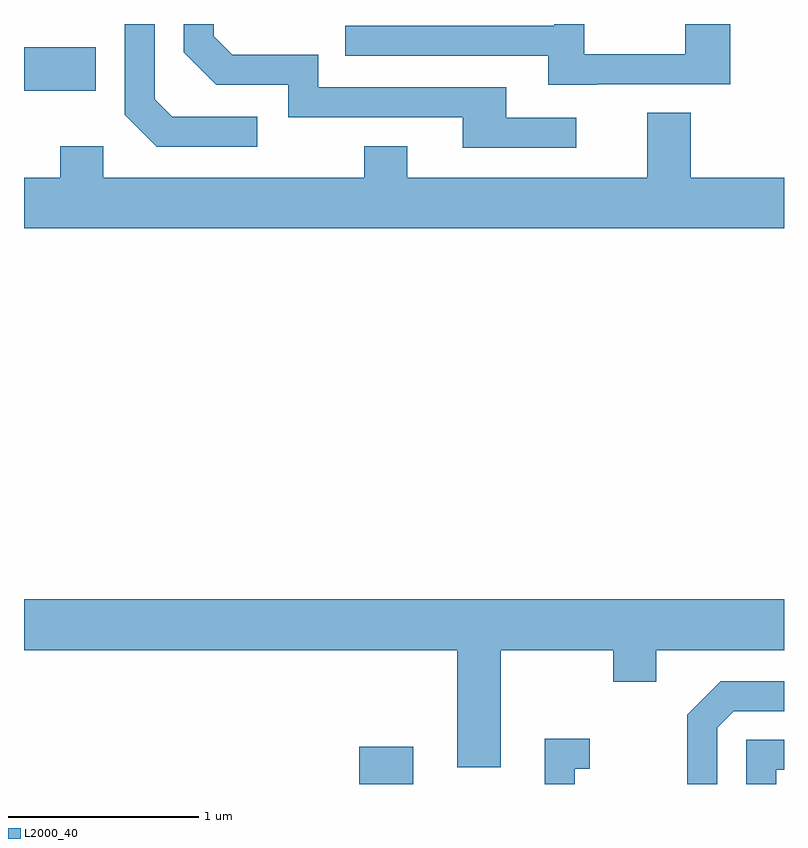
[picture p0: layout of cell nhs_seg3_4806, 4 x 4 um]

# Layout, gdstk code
import gdstk
lib = gdstk.Library(unit=1e-6, precision=1e-09)
def R(c, l, rs):  # rectangles x0, y0, x1, y1
    for r in rs: c.add(gdstk.rectangle(r[:2], r[2:], *l))
def P(c, l, *ps):  # polygons
    for p in ps: c.add(gdstk.Polygon(p, *l))
L2000_40 = (2000, 40)

nhs_seg3_4806 = lib.new_cell('nhs_seg3_4806')
R(nhs_seg3_4806, L2000_40, [(327.376,1211.892,327.659,1212.089), (325.611,1215.541,325.989,1215.769)])
P(nhs_seg3_4806, L2000_40, [(328.625,1215.576),(329.329,1215.576),(329.329,1215.892),(329.091,1215.892),(329.091,1215.734),(328.559,1215.734),(328.559,1215.892),(328.401,1215.892),(328.401,1215.884),(327.303,1215.884),(327.303,1215.726),(328.371,1215.726),(328.371,1215.571),(328.625,1215.571)],
  [(326.838,1215.404),(326.392,1215.404),(326.299,1215.497),(326.299,1215.892),(326.141,1215.892),(326.141,1215.414),(326.309,1215.246),(326.838,1215.246)],
  [(328.518,1215.399),(328.149,1215.399),(328.149,1215.559),(327.159,1215.559),(327.159,1215.729),(326.707,1215.729),(326.609,1215.827),(326.609,1215.892),(326.451,1215.892),(326.451,1215.744),(326.624,1215.571),(327.001,1215.571),(327.001,1215.401),(327.921,1215.401),(327.921,1215.241),(328.518,1215.241)],
  [(329.611,1215.084),(329.119,1215.084),(329.119,1215.424),(328.891,1215.424),(328.891,1215.084),(327.629,1215.084),(327.629,1215.249),(327.401,1215.249),(327.401,1215.084),(326.029,1215.084),(326.029,1215.249),(325.801,1215.249),(325.801,1215.084),(325.611,1215.084),(325.611,1214.816),(329.611,1214.816)],
  [(328.119,1212.596),(328.711,1212.596),(328.711,1212.431),(328.939,1212.431),(328.939,1212.596),(329.611,1212.596),(329.611,1212.864),(325.611,1212.864),(325.611,1212.596),(327.891,1212.596),(327.891,1211.981),(328.119,1211.981)],
  [(329.259,1212.189),(329.347,1212.276),(329.611,1212.276),(329.611,1212.434),(329.279,1212.434),(329.101,1212.257),(329.101,1211.892),(329.259,1211.892)],
  [(328.509,1211.971),(328.588,1211.971),(328.588,1212.129),(328.351,1212.129),(328.351,1211.892),(328.509,1211.892)],
  [(329.569,1211.966),(329.611,1211.966),(329.611,1212.124),(329.411,1212.124),(329.411,1211.892),(329.569,1211.892)])

lib.write_gds('nhs_seg3_4806.gds')
